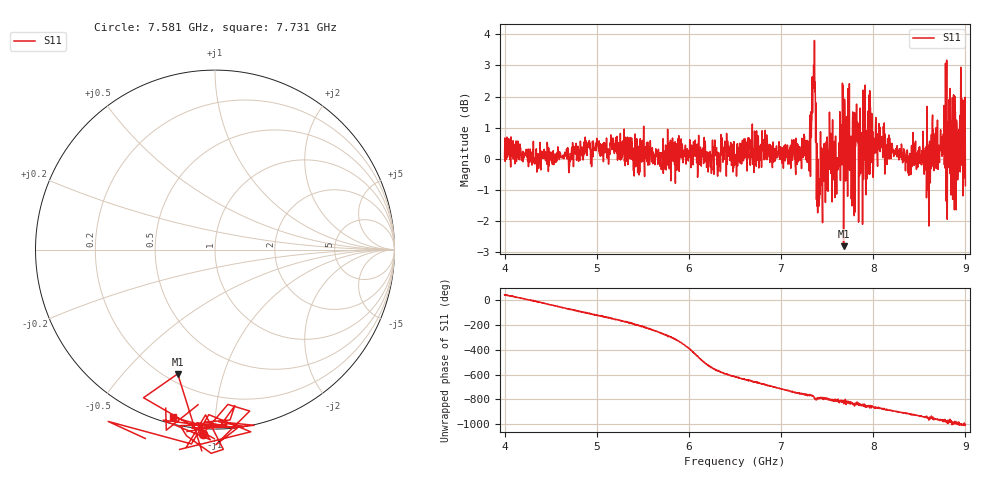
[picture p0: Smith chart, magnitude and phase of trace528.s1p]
! Created with skrf 1.8.0 (http://scikit-rf.org).
# Hz S RI R 50.0
!freq ReS11 ImS11
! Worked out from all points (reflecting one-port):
!   1601 points, 4 GHz to 9 GHz, reference 50 ohm
!   lowest |S11| = -2.8 dB at 7.678 GHz (marker M1), VSWR 6.22, Z = 12.3 - j35.7 ohm
!   phase of S11 starts at 46 deg and turns -1048 deg over the sweep
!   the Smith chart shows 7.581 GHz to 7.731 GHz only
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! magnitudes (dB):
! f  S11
! 4 GHz  0.1
! 4.625 GHz  0.0
! 5.25 GHz  0.0
! 5.875 GHz  0.3
! 6.5 GHz  -0.1
! 6.728 GHz  0.8
! 7.125 GHz  0.4
! 7.294 GHz  0.0
! 7.356 GHz  2.8
! 7.409 GHz  -1.5
! 7.538 GHz  0.8
! 7.609 GHz  0.0
! 7.65 GHz  1.1
! 7.678 GHz  -2.8
! 7.75 GHz  0.3
! 7.775 GHz  1.2
! 7.812 GHz  1.0
! 7.859 GHz  1.6
! 7.962 GHz  2.2
! 8.375 GHz  -0.1
! 8.603 GHz  -2.2
! 8.631 GHz  0.8
! 8.728 GHz  0.5
! 8.775 GHz  1.0
! 8.875 GHz  0.0
! 8.956 GHz  0.2
! 8.972 GHz  0.7
! 9 GHz  -0.9
